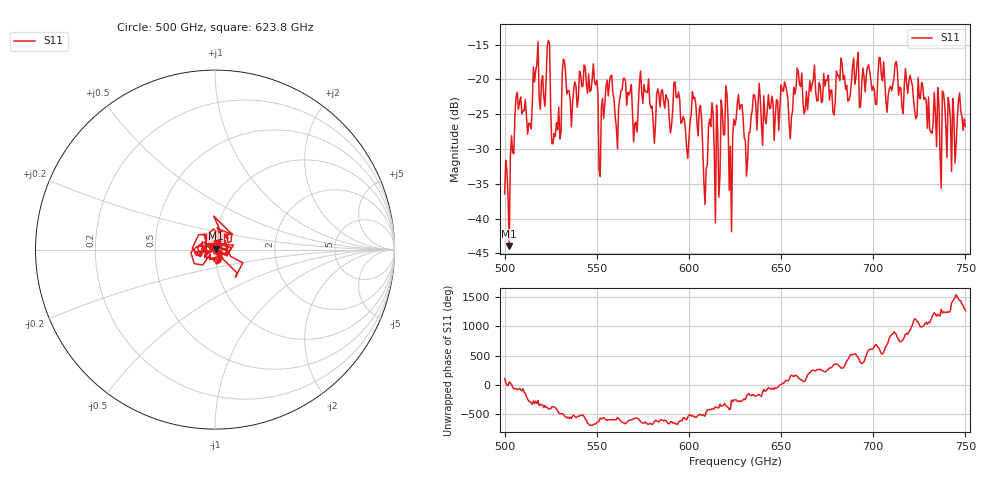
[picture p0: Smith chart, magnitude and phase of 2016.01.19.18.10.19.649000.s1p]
!Created with skrf (http://scikit-rf.org).
# GHz S RI R 50.0
!freq ReS11 ImS11
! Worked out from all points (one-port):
!   401 points, 500 GHz to 750 GHz, reference 50 ohm
!   lowest |S11| = -44.0 dB at 502.5 GHz (marker M1), VSWR 1.01, Z = 50.4 + j0.482 ohm
!   |S11| at or under -10 dB: start of sweep to end of sweep
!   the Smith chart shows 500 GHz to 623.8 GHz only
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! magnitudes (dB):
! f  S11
! 500 GHz  -36.4
! 502.5 GHz  -44.0
! 506.9 GHz  -21.9
! 513.8 GHz  -26.4
! 516.9 GHz  -18.7
! 523.8 GHz  -14.4
! 526.9 GHz  -27.8
! 531.2 GHz  -19.1
! 548.8 GHz  -20.3
! 552.5 GHz  -24.0
! 556.9 GHz  -20.4
! 562.5 GHz  -22.7
! 593.8 GHz  -22.6
! 598.8 GHz  -29.9
! 603.1 GHz  -22.6
! 608.8 GHz  -38.0
! 611.9 GHz  -26.7
! 615.6 GHz  -27.5
! 618.8 GHz  -28.0
! 622.5 GHz  -29.6
! 625 GHz  -26.6
! 631.2 GHz  -33.9
! 635 GHz  -22.2
! 656.2 GHz  -24.5
! 687.5 GHz  -22.3
! 718.8 GHz  -22.0
! 735.6 GHz  -23.4
! 750 GHz  -26.7
